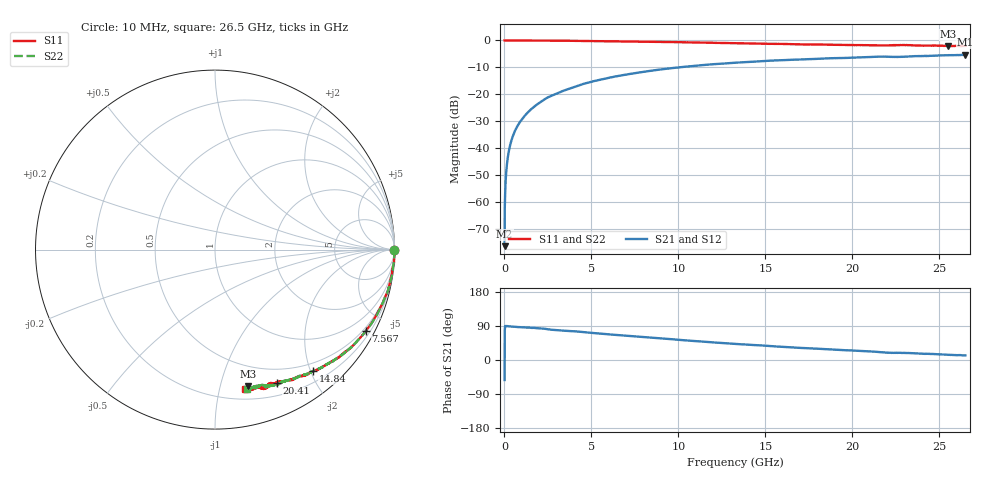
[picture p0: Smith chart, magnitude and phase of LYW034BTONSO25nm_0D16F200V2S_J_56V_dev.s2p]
!Keysight Technologies,N5222B,MY61253708,A.15.00.15
!Date: Wednesday, June 19, 2024 09:10:13
!Correction: S11(C  2-Port  )
!S21(C  2-Port  )
!S12(C  2-Port  )
!S22(C  2-Port  )
!S2P File: Measurements: S11, S21, S12, S22:
# Hz S  RI  R 50
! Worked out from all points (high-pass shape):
!   2651 points, 10 MHz to 26.5 GHz, reference 50 ohm
!   highest |S21| = -5.32 dB at 26.5 GHz (marker M1); lowest = -76.6 dB at 10 MHz (marker M2)
!   |S21| within 3 dB of the highest: 13.17 GHz to end of sweep
!   lowest |S11| = -2.1 dB at 25.5 GHz (marker M3), VSWR 8.27, Z = 15.4 - j61 ohm
!   |S11| at or under -10 dB: nowhere
!   |S22| runs from -2.0 to 0.0 dB; largest |S21 - S12| = 0.0071
!   S11 on the Smith chart (normalised r, x): 10 MHz: open; 7.567 GHz: 0.38, -3.92; 14.84 GHz: 0.36, -2.04; 20.41 GHz: 0.33, -1.52; 26.5 GHz: 0.28, -1.19
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1e7  0.9988 -0.00238  8.98e-05 -0.000118  -0.00028 0.000398  0.9985 -0.000848
7.997358e7  0.9998 -0.00589  2.65e-05 0.00279  3.7e-05 0.00281  0.9993 -0.00531
1.499472e8  0.9999 -0.0113  4.68e-05 0.00517  6.15e-05 0.00519  0.9995 -0.0105
1.799358e8  0.9999 -0.0124  5.17e-05 0.00618  5.29e-05 0.00624  0.9996 -0.0118
2.29917e8  0.9994 -0.0166  0.00014 0.00789  0.000124 0.00798  0.9992 -0.0156
3.19883e8  0.9993 -0.0223  0.000254 0.011  0.000281 0.0111  0.9992 -0.0211
4.49834e8  0.9991 -0.0315  0.000492 0.0154  0.000473 0.0155  0.9989 -0.0306
5.997774e8  0.9986 -0.0415  0.000878 0.0205  0.000873 0.0207  0.9988 -0.0407
7.897057e8  0.9979 -0.0546  0.00148 0.027  0.00149 0.0271  0.9974 -0.0537
1.429464e9  0.9897 -0.0996  0.00365 0.0488  0.00376 0.049  0.9927 -0.0959
2.319128e9  0.9804 -0.1556  0.0107 0.0801  0.011 0.0806  0.9819 -0.1556
3.138819e9  0.9685 -0.2093  0.0219 0.1053  0.0221 0.106  0.9697 -0.2072
4.428332e9  0.9382 -0.2879  0.0414 0.1459  0.0417 0.1468  0.9403 -0.2843
7.567147e9  0.8397 -0.4543  0.1164 0.2193  0.1172 0.2204  0.8431 -0.4505
8.846664e9  0.7909 -0.5107  0.153 0.2405  0.1546 0.2412  0.7934 -0.5079
1.3255e10  0.6099 -0.647  0.2831 0.2608  0.2854 0.2606  0.6153 -0.6446
1.48444e10  0.5469 -0.6777  0.3245 0.255  0.3263 0.2543  0.5525 -0.6724
1.767333e10  0.4348 -0.7209  0.3887 0.2285  0.3922 0.227  0.4479 -0.7181
2.04123e10  0.3468 -0.7441  0.441 0.1972  0.4435 0.1954  0.364 -0.7444
2.209166e10  0.3005 -0.7486  0.4692 0.1636  0.471 0.161  0.2973 -0.7551
2.550038e10  0.1829 -0.7626  0.5163 0.1252  0.5179 0.1256  0.2058 -0.7671
2.65e10  0.1649 -0.7775  0.5295 0.1144  0.5288 0.111  0.1799 -0.7772
